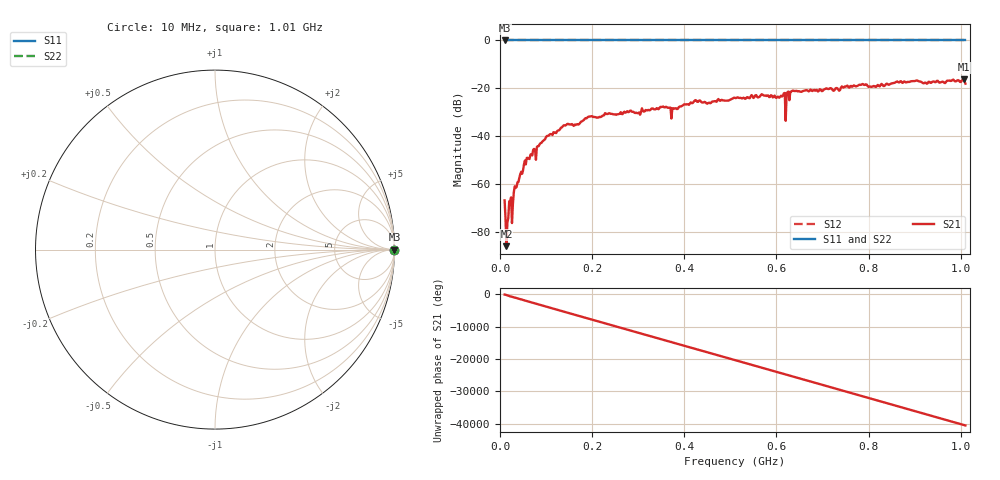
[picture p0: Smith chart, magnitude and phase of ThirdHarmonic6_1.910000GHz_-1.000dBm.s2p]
! 8/16/2025 11:02:44 PM
! C:\ANRITSUVNA\TEMP\TEMP.S2P
! CHANNEL.1
! TR.MEASUREMENT
! RAW.DATA
! RF.CORRECTION.OFF
! AVERAGING.OFF
! IF.BANDWIDTH: 5KHZ
! SWEEPTYPE:  FREQ.SWEEP(Linear)
! Reference Plane Port Info
! PORT:  PORT1  PORT2
! DISTANCE:  0  m  0  m
! TIME:  0  s  0  s
! PHASE.OFFSET:  0  deg.  0  deg.
! LOSS:  0  dB  0  dB
! REF.LOSS:  0  dB  0  dB
! REF.FREQ:  0  Hz  0  Hz
! Power Info
! POWER:  -20  dBm  -20  dBm
! EFF.POWER:  -20  dBm  -20  dBm
! SOURCE.ATTEN:  0  dB  0  dB
! TEST.ATTEN:  0  dB  0  dB
# GHZ S RI R 50.0
! FREQ.GHZ  S11RE  S11IM  S21RE  S21IM  S12RE  S12IM  S22RE  S22IM
!; PortSelection: Port_12
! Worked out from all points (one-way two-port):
!   501 points, 10 MHz to 1.01 GHz, reference 50 ohm
!   highest |S21| = -16.24 dB at 1.006 GHz (marker M1); lowest = -85.7 dB at 14 MHz (marker M2)
!   lowest |S11| = 0.0 dB at 10 MHz (marker M3)
!   |S11| at or under -10 dB: nowhere
!   |S22| runs from 0.0 to 0.0 dB; largest |S21 - S12| = 1.2
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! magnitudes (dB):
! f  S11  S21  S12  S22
! 10 MHz  0.0  -66.7  0.0  0.0
! 14 MHz  0.0  -85.7  0.0  0.0
! 30 MHz  0.0  -63.3  0.0  0.0
! 34 MHz  0.0  -61.4  0.0  0.0
! 56 MHz  0.0  -51.7  0.0  0.0
! 70 MHz  0.0  -47.9  0.0  0.0
! 104 MHz  0.0  -39.7  0.0  0.0
! 178 MHz  0.0  -33.7  0.0  0.0
! 196 MHz  0.0  -31.6  0.0  0.0
! 344 MHz  0.0  -28.7  0.0  0.0
! 376 MHz  0.0  -28.3  0.0  0.0
! 424 MHz  0.0  -24.9  0.0  0.0
! 510 MHz  0.0  -23.9  0.0  0.0
! 614 MHz  0.0  -22.9  0.0  0.0
! 616 MHz  0.0  -22.0  0.0  0.0
! 624 MHz  0.0  -21.5  0.0  0.0
! 626 MHz  0.0  -21.3  0.0  0.0
! 634 MHz  0.0  -21.0  0.0  0.0
! 678 MHz  0.0  -21.1  0.0  0.0
! 844 MHz  0.0  -18.5  0.0  0.0
! 1.006 GHz  0.0  -16.2  0.0  0.0
! 1.01 GHz  0.0  -18.0  0.0  0.0
